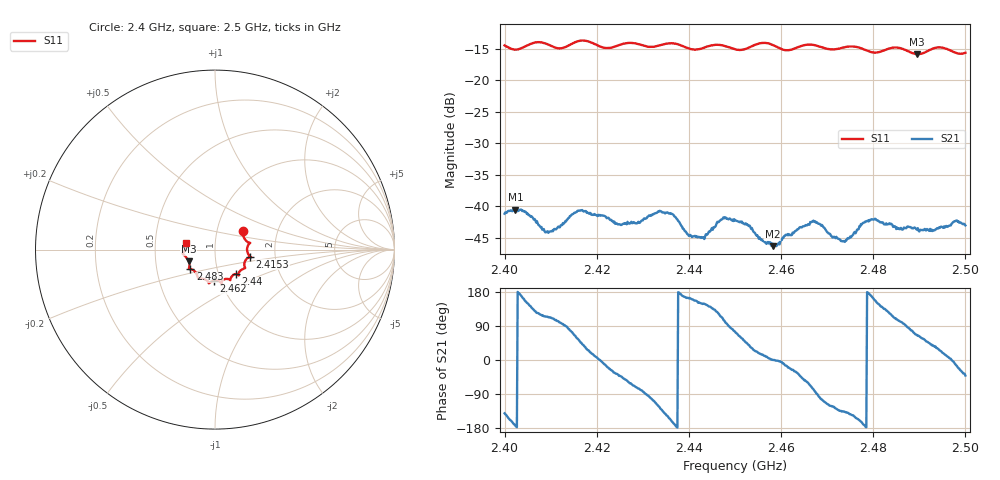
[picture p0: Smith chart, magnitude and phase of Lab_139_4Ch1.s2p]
# Hz S RI R 50
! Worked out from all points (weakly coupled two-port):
!   601 points, 2.4 GHz to 2.5 GHz, reference 50 ohm
!   highest |S21| = -40.53 dB at 2.4023 GHz (marker M1); lowest = -46.3 dB at 2.4582 GHz (marker M2)
!   lowest |S11| = -15.9 dB at 2.4895 GHz (marker M3), VSWR 1.38, Z = 37 - j4.99 ohm
!   |S11| at or under -10 dB: start of sweep to end of sweep
!   S12 and S22 are empty: the file has one direction only
!   S11 on the Smith chart (normalised r, x): 2.4 GHz: 1.33, +0.29; 2.4153 GHz: 1.48, -0.12; 2.44 GHz: 1.21, -0.34; 2.462 GHz: 0.93, -0.33; 2.483 GHz: 0.74, -0.17; 2.5 GHz: 0.72, +0.06
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2.4e9  0.1555 0.1061  -0.00676 -0.00552  0 0  0 0
2.402333e9  0.1601 0.0691  -0.00934 -0.00113  0 0  0 0
2.409333e9  0.1896 0.0315  -0.00261 0.00577  0 0  0 0
2.415333e9  0.1959 -0.0389  0.00394 0.00798  0 0  0 0
2.416667e9  0.2013 -0.043  0.00653 0.00662  0 0  0 0
2.425e9  0.1649 -0.0954  0.00536 -0.00479  0 0  0 0
2.433333e9  0.1309 -0.1339  -0.0047 -0.00778  0 0  0 0
2.4365e9  0.1323 -0.1441  -0.00831 -0.00231  0 0  0 0
2.44e9  0.1143 -0.1365  -0.00556 0.00172  0 0  0 0
2.443e9  0.0896 -0.1551  -0.00479 0.00302  0 0  0 0
2.447333e9  0.0837 -0.1685  -0.00274 0.00749  0 0  0 0
2.45e9  0.0649 -0.1631  0.002 0.00745  0 0  0 0
2.458167e9  0.0359 -0.1866  0.00483 1.49e-05  0 0  0 0
2.462e9  -0.00525 -0.1734  0.00544 -0.00228  0 0  0 0
2.466667e9  -0.0346 -0.1877  0.0023 -0.00718  0 0  0 0
2.4735e9  -0.0843 -0.1603  -0.0038 -0.00369  0 0  0 0
2.478333e9  -0.1003 -0.1409  -0.00757 -0.000479  0 0  0 0
2.483e9  -0.1373 -0.1092  -0.00457 0.00552  0 0  0 0
2.483333e9  -0.1398 -0.109  -0.00424 0.00586  0 0  0 0
2.4895e9  -0.1461 -0.0658  0.00265 0.00595  0 0  0 0
2.494167e9  -0.1803 -0.0225  0.00587 0.00317  0 0  0 0
2.5e9  -0.16 0.0391  0.00532 -0.00463  0 0  0 0
